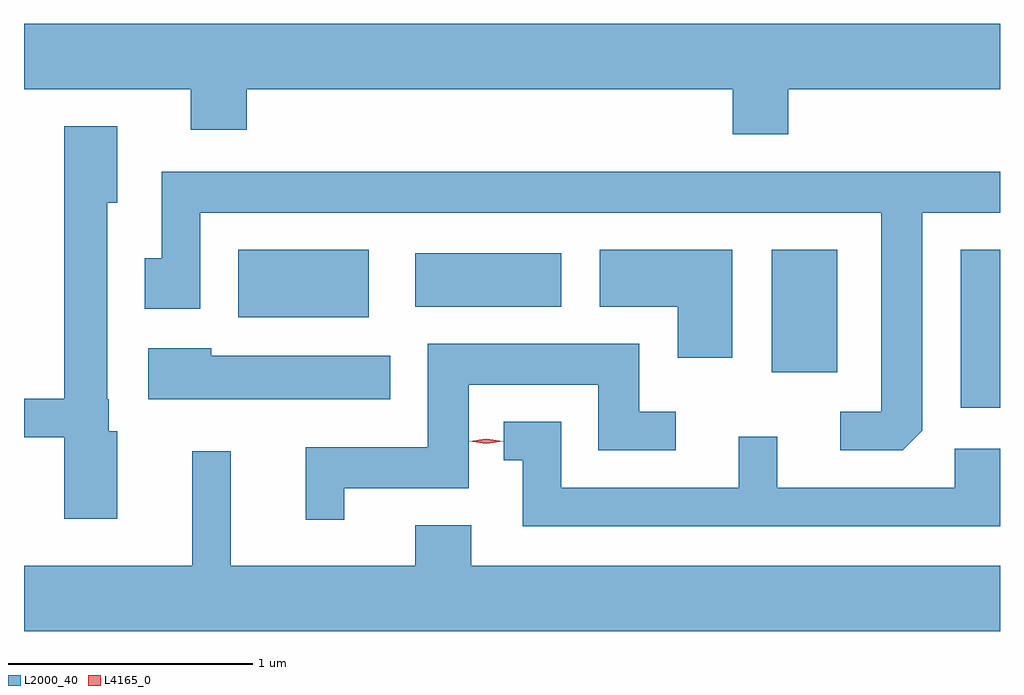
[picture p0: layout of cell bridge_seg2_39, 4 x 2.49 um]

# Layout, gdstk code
import gdstk
lib = gdstk.Library(unit=1e-6, precision=1e-09)
def R(c, l, rs):  # rectangles x0, y0, x1, y1
    for r in rs: c.add(gdstk.rectangle(r[:2], r[2:], *l))
def P(c, l, *ps):  # polygons
    for p in ps: c.add(gdstk.Polygon(p, *l))
L2000_40 = (2000, 40)
L4165_0 = (4165, 0)

bridge_seg2_39 = lib.new_cell('bridge_seg2_39')
R(bridge_seg2_39, L2000_40, [(1363.746,1062.551,1363.907,1063.199), (1362.971,1062.696,1363.239,1063.199), (1360.786,1062.921,1361.319,1063.199), (1361.511,1062.966,1362.109,1063.184)])
P(bridge_seg2_39, L2000_40, [(1363.039,1063.856),(1363.907,1063.856),(1363.907,1064.124),(1359.907,1064.124),(1359.907,1063.856),(1360.591,1063.856),(1360.591,1063.691),(1360.819,1063.691),(1360.819,1063.856),(1362.811,1063.856),(1362.811,1063.671),(1363.039,1063.671)],
  [(1360.289,1062.454),(1360.254,1062.454),(1360.254,1062.585),(1360.249,1062.585),(1360.249,1063.391),(1360.289,1063.391),(1360.289,1063.704),(1360.071,1063.704),(1360.071,1062.589),(1359.907,1062.589),(1359.907,1062.431),(1360.071,1062.431),(1360.071,1062.096),(1360.289,1062.096)],
  [(1363.589,1062.457),(1363.589,1063.351),(1363.907,1063.351),(1363.907,1063.519),(1360.471,1063.519),(1360.471,1063.164),(1360.401,1063.164),(1360.401,1062.956),(1360.629,1062.956),(1360.629,1063.351),(1363.421,1063.351),(1363.421,1062.534),(1363.253,1062.534),(1363.253,1062.376),(1363.509,1062.376)],
  [(1362.809,1063.199),(1362.266,1063.199),(1362.266,1062.966),(1362.586,1062.966),(1362.586,1062.756),(1362.809,1062.756)],
  [(1361.219,1062.221),(1361.729,1062.221),(1361.729,1062.646),(1362.261,1062.646),(1362.261,1062.376),(1362.578,1062.376),(1362.578,1062.534),(1362.429,1062.534),(1362.429,1062.814),(1361.561,1062.814),(1361.561,1062.389),(1361.061,1062.389),(1361.061,1062.093),(1361.219,1062.093)],
  [(1361.409,1062.764),(1360.674,1062.764),(1360.674,1062.794),(1360.416,1062.794),(1360.416,1062.586),(1361.409,1062.586)],
  [(1363.907,1062.384),(1363.721,1062.384),(1363.721,1062.224),(1362.994,1062.224),(1362.994,1062.433),(1362.836,1062.433),(1362.836,1062.224),(1362.109,1062.224),(1362.109,1062.494),(1361.873,1062.494),(1361.873,1062.336),(1361.951,1062.336),(1361.951,1062.066),(1363.907,1062.066)],
  [(1363.907,1061.904),(1361.739,1061.904),(1361.739,1062.069),(1361.511,1062.069),(1361.511,1061.904),(1360.754,1061.904),(1360.754,1062.373),(1360.596,1062.373),(1360.596,1061.904),(1359.907,1061.904),(1359.907,1061.636),(1363.907,1061.636)])
P(bridge_seg2_39, L4165_0, [(1361.801,1062.404),(1361.732,1062.413),(1361.732,1062.414),(1361.732,1062.414),(1361.801,1062.424),(1361.871,1062.414),(1361.871,1062.414),(1361.871,1062.413)])

lib.write_gds('bridge_seg2_39.gds')
